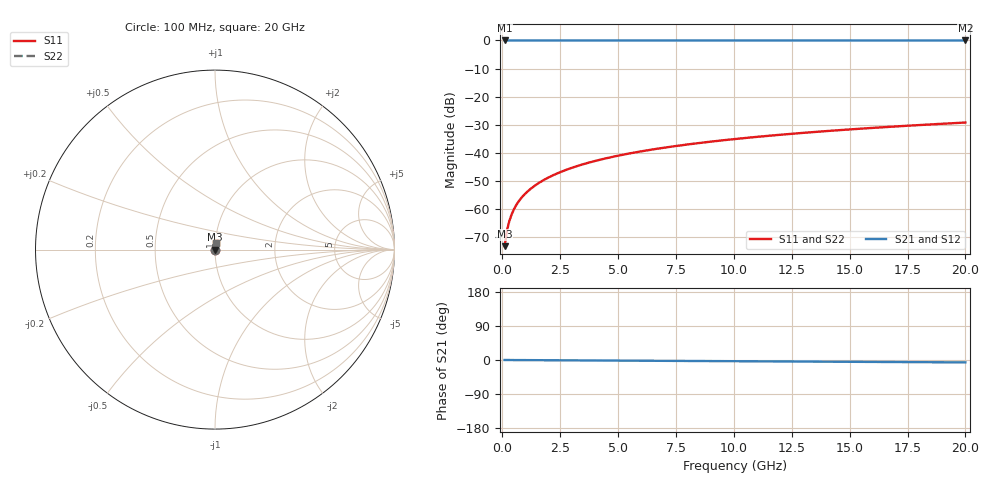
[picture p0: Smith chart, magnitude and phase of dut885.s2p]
! Touchstone file exported from HFSS 2026.1.0
!  File:  C:/ffzhzh/LocalFiles/Ansys_Project_Files/temp_train_TSV_885_1783185835_43440.aedt
!  Generated:  01:25:21 AM Jul  5, 2026
!  Design:  TSV
!  Project:  temp_train_TSV_885_1783185835_43440
! Variables:
!  h_bsmrdl = 2um
!  h_ox = 20um
!  h_rdl = 5um
!  h_sub = 51.94um
!  h_tmrdl = 5um
!  h_tsv = 51.94um
!  h_via = 3um
!  l_bsmrdl = 300um
!  l_sub = 420.52um
!  l_tmrdl = 200um
!  m_sub = 200um
!  pitch = 59.4um
!  r_tsv = 10.26um
!  s_tmrdl = 10um
!  w_bsmrdl = 18um
!  w_sub = 500um
!  w_tmrdl = 12um
!  x_tsv_center1 = 206um
!  x_tsv_center2 = 524um
!  x_tsv_center3 = 736um
!  x_tsv_center4 = 1054um
!  x_tsv_center5 = 1266um
!  x_tsv_center6 = 1584um
# GHz S MA R 50.000000
! Terminal data exported
! Port[1] = TSV1_1_T1
! Port[2] = TSV1_1_T2
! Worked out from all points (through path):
!   200 points, 100 MHz to 20 GHz, reference 50 ohm
!   highest |S21| = 0.00 dB at 100 MHz (marker M1); lowest = 0.0 dB at 20 GHz (marker M2)
!   lowest |S11| = -73.1 dB at 100 MHz (marker M3), VSWR 1.00, Z = 50 + j0.0203 ohm
!   |S11| at or under -10 dB: start of sweep to end of sweep
!   |S22| runs from -73.1 to -29.2 dB; largest |S21 - S12| = 1.1e-15
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0.1  0.0002209 66.5  0.9999 -0.0  0.9999 -0.0  0.0002209 66.5
! Gamma 0 0 0 0
! Port Impedance 50 0 50 0
0.2  0.0004147 76.6  0.9999 -0.1  0.9999 -0.1  0.0004147 76.6
0.3  0.0006107 79.8  0.9999 -0.1  0.9999 -0.1  0.0006107 79.8
0.4  0.0008045 81.2  0.9999 -0.1  0.9999 -0.1  0.0008045 81.2
0.5  0.000995 82.0  0.9999 -0.2  0.9999 -0.2  0.000995 82.0
0.6  0.001182 82.4  0.9998 -0.2  0.9998 -0.2  0.001182 82.4
0.7  0.001367 82.8  0.9998 -0.2  0.9998 -0.2  0.001367 82.8
0.9  0.00173 83.3  0.9998 -0.3  0.9998 -0.3  0.00173 83.3
1.1  0.002087 83.7  0.9998 -0.4  0.9998 -0.4  0.002087 83.7
1.3  0.002442 84.1  0.9998 -0.4  0.9998 -0.4  0.002442 84.1
1.6  0.002973 84.5  0.9997 -0.5  0.9997 -0.5  0.002973 84.5
1.9  0.003504 84.9  0.9997 -0.6  0.9997 -0.6  0.003504 84.9
2.6  0.00474 85.4  0.9997 -0.8  0.9997 -0.8  0.00474 85.4
3.5  0.006327 85.6  0.9996 -1.1  0.9996 -1.1  0.006327 85.6
4.2  0.007558 85.7  0.9996 -1.3  0.9996 -1.3  0.007558 85.7
5  0.008959 85.7  0.9995 -1.6  0.9995 -1.6  0.008959 85.7
6.8  0.01209 85.5  0.9994 -2.2  0.9994 -2.2  0.01209 85.5
8.3  0.0147 85.2  0.9993 -2.6  0.9993 -2.6  0.0147 85.2
10.1  0.01781 84.8  0.9992 -3.2  0.9992 -3.2  0.01781 84.8
13.4  0.02349 84.0  0.999 -4.3  0.999 -4.3  0.02349 84.0
16.7  0.02915 83.2  0.9988 -5.3  0.9988 -5.3  0.02915 83.2
20  0.03478 82.2  0.9985 -6.3  0.9985 -6.3  0.03478 82.2
